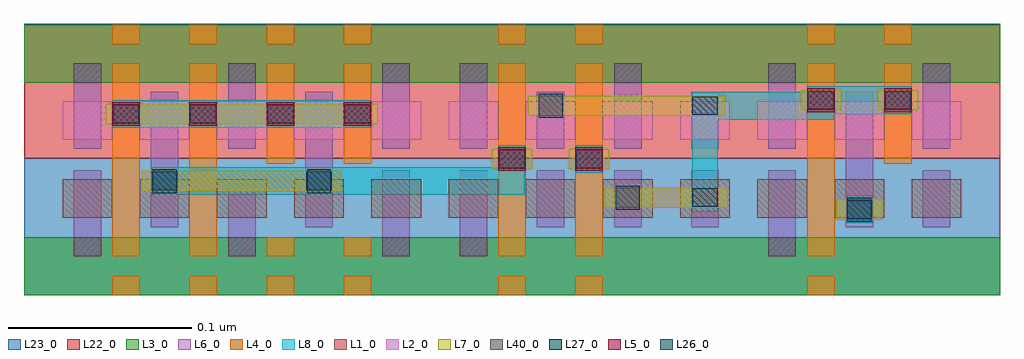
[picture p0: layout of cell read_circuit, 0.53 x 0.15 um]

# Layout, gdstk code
import gdstk
lib = gdstk.Library(unit=1e-6, precision=2.5e-10)
def R(c, l, rs):  # rectangles x0, y0, x1, y1
    for r in rs: c.add(gdstk.rectangle(r[:2], r[2:], *l))
def A(c, l, x, y, w, h, nx, ny, dx, dy):  # array of equal rectangles
    R(c, l, [(x+i*dx, y+j*dy, x+i*dx+w, y+j*dy+h) for i in range(nx) for j in range(ny)])
def P(c, l, *ps):  # polygons
    for p in ps: c.add(gdstk.Polygon(p, *l))
L1_0 = (1, 0)
L2_0 = (2, 0)
L3_0 = (3, 0)
L4_0 = (4, 0)
L5_0 = (5, 0)
L6_0 = (6, 0)
L7_0 = (7, 0)
L8_0 = (8, 0)
L22_0 = (22, 0)
L23_0 = (23, 0)
L26_0 = (26, 0)
L27_0 = (27, 0)
L40_0 = (40, 0)

inv = lib.new_cell('inv')
A(inv, L1_0, 0.021, 0.042, 0.027, 0.021, 3, 1, 0.042, 0)
A(inv, L2_0, 0.021, 0.0845, 0.027, 0.021, 3, 1, 0.042, 0)
R(inv, L3_0, [(0,0,0.153,0.0315), (0,0.1155,0.153,0.147)])
R(inv, L4_0, [(0.048,0,0.063,0.0105), (0.048,0.021,0.063,0.126), (0.09,0.0715,0.105,0.126), (0.048,0.1365,0.063,0.147), (0.09,0.1365,0.105,0.147)])
R(inv, L5_0, [(0.048,0.0995,0.063,0.1125), (0.09,0.0995,0.105,0.1125)])
R(inv, L6_0, [(0.027,0.021,0.042,0.068), (0.069,0.037,0.084,0.1105), (0.111,0.037,0.126,0.068), (0.027,0.0795,0.042,0.126), (0.111,0.0795,0.126,0.126)])
R(inv, L7_0, [(0.064,0.041,0.089,0.052), (0.0445,0.1005,0.0665,0.1115), (0.0865,0.1005,0.1085,0.1115)])
R(inv, L8_0, [(0.0695,0.039,0.0835,0.054), (0.0485,0.0985,0.1045,0.1135)])
R(inv, L22_0, [(0,0.0745,0.153,0.147)])
R(inv, L23_0, [(0,0,0.153,0.0745), (0,0.147,0.153,0.1475)])
R(inv, L26_0, [(0.07,0.04,0.083,0.053)])
R(inv, L27_0, [(0.0695,0.0415,0.0835,0.0515), (0.0485,0.101,0.0625,0.111), (0.0905,0.101,0.1045,0.111)])
R(inv, L40_0, [(0.027,0.021,0.042,0.0315), (0.027,0.1155,0.042,0.126), (0.111,0.1155,0.126,0.126)])

nand = lib.new_cell('nand')
A(nand, L1_0, 0.1255, 0.099, 0.027, 0.021, 4, 1, 0.042, 0)
A(nand, L2_0, 0.1255, 0.1415, 0.027, 0.021, 4, 1, 0.042, 0)
R(nand, L3_0, [(0.1045,0.057,0.2995,0.0885), (0.1045,0.1725,0.2995,0.204)])
R(nand, L4_0, [(0.1525,0.057,0.1675,0.0675), (0.1945,0.057,0.2095,0.0675), (0.1525,0.078,0.1675,0.183), (0.1945,0.078,0.2095,0.183), (0.1525,0.1935,0.1675,0.204), (0.1945,0.1935,0.2095,0.204)])
R(nand, L5_0, [(0.1525,0.1245,0.1675,0.1375), (0.1945,0.1245,0.2095,0.1375)])
A(nand, L6_0, 0.1735, 0.094, 0.015, 0.031, 3, 1, 0.042, 0)
R(nand, L6_0, [(0.1315,0.078,0.1465,0.125), (0.1315,0.1365,0.1465,0.183), (0.1735,0.1365,0.1885,0.1675), (0.2155,0.1365,0.2305,0.183), (0.2575,0.1365,0.2725,0.1675)])
R(nand, L7_0, [(0.2105,0.1045,0.2775,0.1155), (0.149,0.1255,0.171,0.1365), (0.191,0.1255,0.213,0.1365), (0.1685,0.1545,0.276,0.1655)])
R(nand, L8_0, [(0.258,0.1025,0.272,0.1675), (0.153,0.1235,0.167,0.1385), (0.195,0.1235,0.209,0.1385)])
R(nand, L22_0, [(0.1045,0.1315,0.2995,0.204)])
R(nand, L23_0, [(0.1045,0.057,0.2995,0.1315), (0.1045,0.204,0.2995,0.2045)])
R(nand, L26_0, [(0.2165,0.1035,0.2295,0.1165), (0.1745,0.1535,0.1875,0.1665)])
R(nand, L27_0, [(0.258,0.105,0.272,0.115), (0.153,0.126,0.167,0.136), (0.195,0.126,0.209,0.136), (0.258,0.155,0.272,0.165)])
R(nand, L40_0, [(0.1315,0.078,0.1465,0.0885), (0.1315,0.1725,0.1465,0.183), (0.2155,0.1725,0.2305,0.183)])

invx4 = lib.new_cell('invx4')
A(invx4, L1_0, 0.027, 0.042, 0.027, 0.021, 5, 1, 0.042, 0)
A(invx4, L2_0, 0.027, 0.0845, 0.027, 0.021, 5, 1, 0.042, 0)
R(invx4, L3_0, [(0.006,0,0.243,0.0315), (0.006,0.1155,0.243,0.147)])
A(invx4, L4_0, 0.054, 0, 0.015, 0.0105, 4, 2, 0.042, 0.1365)
R(invx4, L4_0, [(0.054,0.021,0.069,0.126), (0.096,0.021,0.111,0.126), (0.138,0.021,0.153,0.0315), (0.18,0.021,0.195,0.0315), (0.138,0.0715,0.153,0.126), (0.18,0.0715,0.195,0.126)])
A(invx4, L5_0, 0.054, 0.092, 0.015, 0.013, 4, 1, 0.042, 0)
A(invx4, L6_0, 0.033, 0.021, 0.015, 0.047, 3, 1, 0.084, 0)
A(invx4, L6_0, 0.033, 0.0795, 0.015, 0.0465, 3, 1, 0.084, 0)
R(invx4, L6_0, [(0.075,0.037,0.09,0.1105), (0.159,0.037,0.174,0.1105)])
R(invx4, L7_0, [(0.07,0.0565,0.179,0.0675), (0.0505,0.093,0.1985,0.104)])
R(invx4, L8_0, [(0.0755,0.0545,0.1735,0.0695), (0.0545,0.091,0.1945,0.106)])
R(invx4, L22_0, [(0.006,0.0745,0.243,0.147)])
R(invx4, L23_0, [(0.006,0,0.243,0.0745), (0.006,0.147,0.243,0.1475)])
R(invx4, L26_0, [(0.076,0.0555,0.089,0.0685), (0.16,0.0555,0.173,0.0685)])
A(invx4, L27_0, 0.0545, 0.0935, 0.014, 0.01, 4, 1, 0.042, 0)
R(invx4, L27_0, [(0.0755,0.057,0.0895,0.067), (0.1595,0.057,0.1735,0.067)])
A(invx4, L40_0, 0.033, 0.021, 0.015, 0.0105, 3, 2, 0.084, 0.0945)

read_circuit = lib.new_cell('read_circuit')
R(read_circuit, L8_0, [(0.449,0.0445,0.459,0.051), (0.302,0.0725,0.3115,0.078), (0.0505,0.097,0.06,0.103)])
P(read_circuit, L8_0, [(0.4405,0.1145),(0.4405,0.0965),(0.3635,0.0965),(0.3635,0.1115),(0.4265,0.1115),(0.4265,0.1145)],
  [(0.2725,0.0815),(0.2725,0.0555),(0.1535,0.0555),(0.1535,0.0705),(0.2585,0.0705),(0.2585,0.0815)])
read_circuit.add(gdstk.Reference(inv, (0.378,0.001)))
read_circuit.add(gdstk.Reference(nand, (0.1055,-0.056)))
read_circuit.add(gdstk.Reference(invx4, (-0.006,0.001)))

lib.write_gds('read_circuit.gds')
